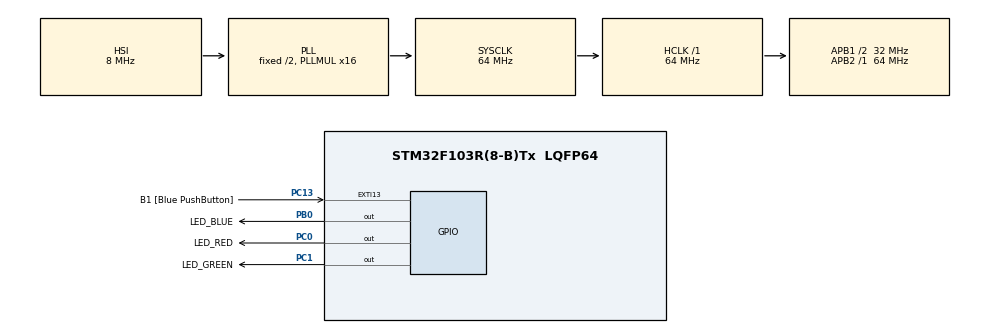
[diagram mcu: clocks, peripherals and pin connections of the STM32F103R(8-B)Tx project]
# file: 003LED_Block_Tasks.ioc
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Mcu.Family=STM32F1
Mcu.Name=STM32F103R(8-B)Tx
Mcu.Package=LQFP64
NVIC.EXTI15_10_IRQn=true\:0\:0\:false\:false\:true\:true\:true\:true
NVIC.PriorityGroup=NVIC_PRIORITYGROUP_4
NVIC.TIM4_IRQn=true\:15\:0\:false\:false\:true\:false\:true\:true
NVIC.TimeBase=TIM4_IRQn
NVIC.TimeBaseIP=TIM4
PA13.GPIO_Label=TMS
PA13.Mode=Serial_Wire
PA13.Signal=SYS_JTMS-SWDIO
PA14.GPIO_Label=TCK
PA14.Mode=Serial_Wire
PA14.Signal=SYS_JTCK-SWCLK
PA2.GPIO_Label=USART_TX
PA2.GPIO_Mode=GPIO_MODE_AF_PP
PA2.GPIO_PuPd=GPIO_NOPULL
PA2.GPIO_Speed=GPIO_SPEED_FREQ_LOW
PA2.Signal=USART2_TX
PA3.GPIO_Label=USART_RX
PA3.GPIO_Mode=GPIO_MODE_AF_PP
PA3.GPIO_PuPd=GPIO_NOPULL
PA3.GPIO_Speed=GPIO_SPEED_FREQ_LOW
PA3.Signal=USART2_RX
PB0.GPIO_Label=LED_BLUE
PB0.Signal=GPIO_Output
PB3.GPIO_Label=SWO
PB3.Signal=SYS_JTDO-TRACESWO
PC0.GPIO_Label=LED_RED
PC0.Signal=GPIO_Output
PC1.GPIO_Label=LED_GREEN
PC1.Signal=GPIO_Output
PC13-TAMPER-RTC.GPIO_Label=B1 [Blue PushButton]
PC13-TAMPER-RTC.GPIO_ModeDefaultEXTI=GPIO_MODE_IT_FALLING
PC13-TAMPER-RTC.GPIO_PuPd=GPIO_NOPULL
PC13-TAMPER-RTC.Signal=GPXTI13
PC14-OSC32_IN.Signal=RCC_OSC32_IN
PC15-OSC32_OUT.Signal=RCC_OSC32_OUT
PD0-OSC_IN.Signal=RCC_OSC_IN
PD1-OSC_OUT.Signal=RCC_OSC_OUT
ProjectManager.HeapSize=0x200
ProjectManager.StackSize=0x400
ProjectManager.TargetToolchain=STM32CubeIDE
RCC.AHBFreq_Value=64000000
RCC.APB1CLKDivider=RCC_HCLK_DIV2
RCC.APB1Freq_Value=32000000
RCC.APB1TimFreq_Value=64000000
RCC.APB2Freq_Value=64000000
RCC.APB2TimFreq_Value=64000000
RCC.HCLKFreq_Value=64000000
RCC.PLLMUL=RCC_PLL_MUL16
RCC.SYSCLKFreq_VALUE=64000000
RCC.SYSCLKSource=RCC_SYSCLKSOURCE_PLLCLK
RCC.USBFreq_Value=64000000
VP_SYS_VS_tim4.Mode=TIM4
board=NUCLEO-F103RB

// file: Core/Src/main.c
/* USER CODE BEGIN Header */
/**
  ******************************************************************************
  * @file           : main.c
  * @brief          : Main program body
  ******************************************************************************
  * @attention
  *
  * Copyright (c) 2025 STMicroelectronics.
  * All rights reserved.
  *
  * This software is licensed under terms that can be found in the LICENSE file
  * in the root directory of this software component.
  * If no LICENSE file comes with this software, it is provided AS-IS.
  *
  ******************************************************************************
  */
/* USER CODE END Header */
#include "main.h"

/* USER CODE BEGIN Includes */
#include "FreeRTOS.h"
#include "task.h"
/* USER CODE END Includes */

void SystemClock_Config(void);
static void MX_GPIO_Init(void);
/* USER CODE BEGIN PFP */
static void led_red_handler(void* parameters);
static void led_green_handler(void* parameters);
static void led_blue_handler(void* parameters);
/* USER CODE END PFP */

/* USER CODE BEGIN 0 */
#define DWT_CTRL	(*(volatile uint32_t*) 0xE0001000)
/* USER CODE END 0 */

int main(void)
{

  /* USER CODE BEGIN 1 */
  TaskHandle_t task1_handle;
  TaskHandle_t task2_handle;
  TaskHandle_t task3_handle;

  BaseType_t status;
  /* USER CODE END 1 */

  /* MCU Configuration--------------------------------------------------------*/

  /* Reset of all peripherals, Initializes the Flash interface and the Systick. */
  HAL_Init();

  /* Configure the system clock */
  SystemClock_Config();

  /* Initialize all configured peripherals */
  MX_GPIO_Init();
  /* USER CODE BEGIN 2 */
  DWT_CTRL |= (1 << 0);

  SEGGER_SYSVIEW_Conf();

  SEGGER_SYSVIEW_Start();

  HAL_NVIC_SetPriorityGrouping(NVIC_PRIORITYGROUP_4);
  HAL_NVIC_SetPriority(PendSV_IRQn,  15, 0);
  HAL_NVIC_SetPriority(SysTick_IRQn, 15, 0);

  status = xTaskCreate(led_red_handler, "LED_RED_task", 200, NULL, 2, &task1_handle);

  configASSERT(status == pdPASS);

  status = xTaskCreate(led_green_handler, "LED_GREEN_task", 200, NULL, 2, &task2_handle);

  configASSERT(status == pdPASS);

  status = xTaskCreate(led_blue_handler, "LED_BLUE_task", 200, NULL, 2, &task3_handle);

  configASSERT(status == pdPASS);

  vTaskStartScheduler();
  /* USER CODE END 2 */

  /* Infinite loop */
  while (1)
  {

  }
}

void SystemClock_Config(void)
{
  RCC_OscInitTypeDef RCC_OscInitStruct = {0};
  RCC_ClkInitTypeDef RCC_ClkInitStruct = {0};

  /** Initializes the RCC Oscillators according to the specified parameters
  * in the RCC_OscInitTypeDef structure.
  */
  RCC_OscInitStruct.OscillatorType = RCC_OSCILLATORTYPE_HSI;
  RCC_OscInitStruct.HSIState = RCC_HSI_ON;
  RCC_OscInitStruct.HSICalibrationValue = RCC_HSICALIBRATION_DEFAULT;
  RCC_OscInitStruct.PLL.PLLState = RCC_PLL_ON;
  RCC_OscInitStruct.PLL.PLLSource = RCC_PLLSOURCE_HSI_DIV2;
  RCC_OscInitStruct.PLL.PLLMUL = RCC_PLL_MUL16;
  if (HAL_RCC_OscConfig(&RCC_OscInitStruct) != HAL_OK)
  {
    Error_Handler();
  }

  /** Initializes the CPU, AHB and APB buses clocks
  */
  RCC_ClkInitStruct.ClockType = RCC_CLOCKTYPE_HCLK|RCC_CLOCKTYPE_SYSCLK
                              |RCC_CLOCKTYPE_PCLK1|RCC_CLOCKTYPE_PCLK2;
  RCC_ClkInitStruct.SYSCLKSource = RCC_SYSCLKSOURCE_PLLCLK;
  RCC_ClkInitStruct.AHBCLKDivider = RCC_SYSCLK_DIV1;
  RCC_ClkInitStruct.APB1CLKDivider = RCC_HCLK_DIV2;
  RCC_ClkInitStruct.APB2CLKDivider = RCC_HCLK_DIV1;

  if (HAL_RCC_ClockConfig(&RCC_ClkInitStruct, FLASH_LATENCY_2) != HAL_OK)
  {
    Error_Handler();
  }
}

static void MX_GPIO_Init(void)
{
  GPIO_InitTypeDef GPIO_InitStruct = {0};

  /* GPIO Ports Clock Enable */
  __HAL_RCC_GPIOC_CLK_ENABLE();
  __HAL_RCC_GPIOD_CLK_ENABLE();
  __HAL_RCC_GPIOA_CLK_ENABLE();
  __HAL_RCC_GPIOB_CLK_ENABLE();

  /*Configure GPIO pin Output Level */
  HAL_GPIO_WritePin(GPIOC, LED_RED_Pin|LED_GREEN_Pin, GPIO_PIN_RESET);

  /*Configure GPIO pin Output Level */
  HAL_GPIO_WritePin(LED_BLUE_GPIO_Port, LED_BLUE_Pin, GPIO_PIN_RESET);

  /*Configure GPIO pin : B1_Pin */
  GPIO_InitStruct.Pin = B1_Pin;
  GPIO_InitStruct.Mode = GPIO_MODE_IT_FALLING;
  GPIO_InitStruct.Pull = GPIO_NOPULL;
  HAL_GPIO_Init(B1_GPIO_Port, &GPIO_InitStruct);

  /*Configure GPIO pins : LED_RED_Pin LED_GREEN_Pin */
  GPIO_InitStruct.Pin = LED_RED_Pin|LED_GREEN_Pin;
  GPIO_InitStruct.Mode = GPIO_MODE_OUTPUT_PP;
  GPIO_InitStruct.Pull = GPIO_NOPULL;
  GPIO_InitStruct.Speed = GPIO_SPEED_FREQ_LOW;
  HAL_GPIO_Init(GPIOC, &GPIO_InitStruct);

  /*Configure GPIO pins : USART_TX_Pin USART_RX_Pin */
  GPIO_InitStruct.Pin = USART_TX_Pin|USART_RX_Pin;
  GPIO_InitStruct.Mode = GPIO_MODE_AF_PP;
  GPIO_InitStruct.Speed = GPIO_SPEED_FREQ_LOW;
  HAL_GPIO_Init(GPIOA, &GPIO_InitStruct);

  /*Configure GPIO pin : LED_BLUE_Pin */
  GPIO_InitStruct.Pin = LED_BLUE_Pin;
  GPIO_InitStruct.Mode = GPIO_MODE_OUTPUT_PP;
  GPIO_InitStruct.Pull = GPIO_NOPULL;
  GPIO_InitStruct.Speed = GPIO_SPEED_FREQ_LOW;
  HAL_GPIO_Init(LED_BLUE_GPIO_Port, &GPIO_InitStruct);

  /* EXTI interrupt init*/
  HAL_NVIC_SetPriority(EXTI15_10_IRQn, 0, 0);
  HAL_NVIC_EnableIRQ(EXTI15_10_IRQn);

}

/* USER CODE BEGIN 4 */
static void led_red_handler(void* parameters)
{
	TickType_t last_wakeup_time;

	last_wakeup_time = xTaskGetTickCount();

	while(1)
	{
		HAL_GPIO_TogglePin(LED_RED_GPIO_Port, LED_RED_Pin);
		vTaskDelayUntil(&last_wakeup_time, pdMS_TO_TICKS(100));
	}
}

static void led_green_handler(void* parameters)
{
	TickType_t last_wakeup_time;

	last_wakeup_time = xTaskGetTickCount();

	while(1)
	{
		HAL_GPIO_TogglePin(LED_GREEN_GPIO_Port, LED_GREEN_Pin);
		vTaskDelayUntil(&last_wakeup_time, pdMS_TO_TICKS(200));
	}
}

static void led_blue_handler(void* parameters)
{
	TickType_t last_wakeup_time;

	last_wakeup_time = xTaskGetTickCount();

	while(1)
	{
		HAL_GPIO_TogglePin(LED_BLUE_GPIO_Port, LED_BLUE_Pin);
		vTaskDelayUntil(&last_wakeup_time, pdMS_TO_TICKS(300));
	}
}
/* USER CODE END 4 */

void HAL_TIM_PeriodElapsedCallback(TIM_HandleTypeDef *htim)
{
  if (htim->Instance == TIM4)
  {
    HAL_IncTick();
  }
}

void Error_Handler(void)
{
  __disable_irq();
  while (1)
  {
  }
}
